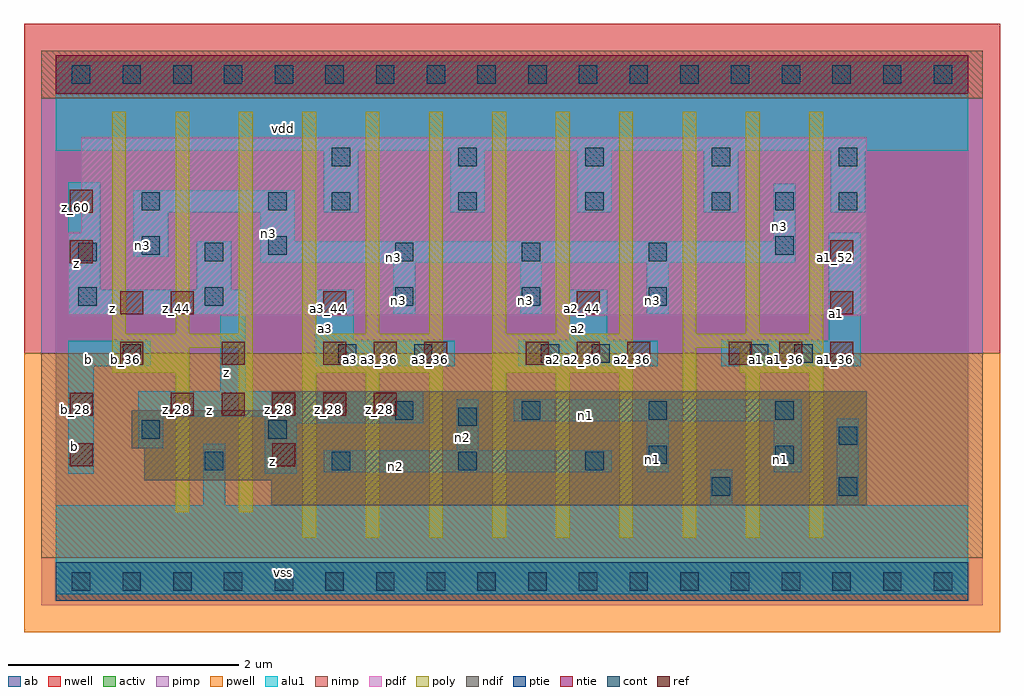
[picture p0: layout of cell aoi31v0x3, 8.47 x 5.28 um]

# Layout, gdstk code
import gdstk
lib = gdstk.Library(unit=1e-6, precision=2.5e-09)
def R(c, l, rs):  # rectangles x0, y0, x1, y1
    for r in rs: c.add(gdstk.rectangle(r[:2], r[2:], *l))
def A(c, l, x, y, w, h, nx, ny, dx, dy):  # array of equal rectangles
    R(c, l, [(x+i*dx, y+j*dy, x+i*dx+w, y+j*dy+h) for i in range(nx) for j in range(ny)])
ndif = (3, 0)
pdif = (4, 0)
ntie = (5, 0)
ptie = (6, 0)
ref = (24, 0)
cont = (25, 0)
pwell = (41, 0)
nwell = (42, 0)
activ = (43, 0)
pimp = (44, 0)
nimp = (45, 0)
poly = (46, 0)
alu1 = (49, 0)
ab = (63, 0)

aoi31v0x3 = lib.new_cell('aoi31v0x3')
R(aoi31v0x3, ndif, [(1.87,0.66,7.04,0.88), (0.77,0.88,7.04,1.155), (0.66,1.155,7.04,1.485), (1.87,1.485,7.04,1.65)])
R(aoi31v0x3, pdif, [(0.11,2.31,7.04,3.025), (0.22,3.025,7.04,3.85)])
R(aoi31v0x3, ntie, [(0,4.235,7.92,4.565)])
R(aoi31v0x3, ptie, [(0,-0.165,7.92,0.165)])
A(aoi31v0x3, ref, 1, 1.44, 0.2, 0.2, 5, 1, 0.44, 0)
A(aoi31v0x3, ref, 0.56, 1.88, 0.2, 0.2, 3, 1, 0.88, 0)
A(aoi31v0x3, ref, 4.08, 1.88, 0.2, 0.2, 3, 1, 0.44, 0)
A(aoi31v0x3, ref, 5.84, 1.88, 0.2, 0.2, 3, 1, 0.44, 0)
A(aoi31v0x3, ref, 2.32, 2.32, 0.2, 0.2, 3, 1, 2.2, 0)
R(aoi31v0x3, ref, [(0.12,1,0.32,1.2), (1.88,1,2.08,1.2), (0.12,1.44,0.32,1.64), (2.76,1.88,2.96,2.08), (3.2,1.88,3.4,2.08), (0.56,2.32,0.76,2.52), (1,2.32,1.2,2.52), (0.12,2.76,0.32,2.96), (6.72,2.76,6.92,2.96), (0.12,3.2,0.32,3.4)])
A(aoi31v0x3, cont, 0.14, -0.08, 0.16, 0.16, 18, 2, 0.44, 4.4)
A(aoi31v0x3, cont, 1.295, 0.965, 0.16, 0.16, 4, 1, 1.1, 0)
A(aoi31v0x3, cont, 2.945, 1.405, 0.16, 0.16, 4, 1, 1.1, 0)
A(aoi31v0x3, cont, 2.945, 2.395, 0.16, 0.16, 3, 2, 1.1, 0.385)
A(aoi31v0x3, cont, 2.395, 3.22, 0.16, 0.16, 4, 1, 1.1, 0)
A(aoi31v0x3, cont, 2.395, 3.605, 0.16, 0.16, 5, 1, 1.1, 0)
R(aoi31v0x3, cont, [(5.695,0.745,5.855,0.905), (6.795,0.745,6.955,0.905), (5.145,1.02,5.305,1.18), (6.245,1.02,6.405,1.18), (6.795,1.185,6.955,1.345), (0.745,1.24,0.905,1.4), (1.845,1.24,2.005,1.4), (3.495,1.35,3.655,1.51), (0.58,1.9,0.74,2.06), (2.45,1.9,2.61,2.06), (3.11,1.9,3.27,2.06), (4.21,1.9,4.37,2.06), (4.65,1.9,4.81,2.06), (6.025,1.9,6.185,2.06), (6.41,1.9,6.57,2.06), (0.195,2.395,0.355,2.555), (1.295,2.395,1.455,2.555), (0.195,2.78,0.355,2.94), (1.295,2.78,1.455,2.94), (0.745,2.835,0.905,2.995), (1.845,2.835,2.005,2.995), (6.245,2.835,6.405,2.995), (0.745,3.22,0.905,3.38), (1.845,3.22,2.005,3.38), (6.245,3.22,6.405,3.38), (6.795,3.22,6.955,3.38)])
R(aoi31v0x3, pwell, [(-0.275,-0.44,8.195,1.98)])
R(aoi31v0x3, nwell, [(-0.275,1.98,8.195,4.84)])
R(aoi31v0x3, activ, [(0,-0.165,7.92,0.165), (1.87,0.66,7.04,0.88), (0.77,0.88,7.04,1.155), (0.66,1.155,7.04,1.485), (1.87,1.485,7.04,1.65), (0.11,2.31,7.04,3.025), (0.22,3.025,7.04,3.85), (0,4.235,7.92,4.565)])
R(aoi31v0x3, pimp, [(-0.125,-0.205,8.045,0.205), (-0.125,1.98,8.045,4.195)])
R(aoi31v0x3, nimp, [(-0.125,0.205,8.045,1.98), (-0.125,4.195,8.045,4.605)])
A(aoi31v0x3, poly, 2.14, 0.38, 0.12, 1.43, 6, 1, 0.55, 0)
A(aoi31v0x3, poly, 0.49, 2.15, 0.12, 1.925, 12, 1, 0.55, 0)
R(aoi31v0x3, poly, [(5.44,0.38,5.56,2.03), (5.99,0.38,6.11,1.81), (6.54,0.38,6.66,1.81), (1.04,0.6,1.16,1.81), (1.59,0.6,1.71,2.03), (0.49,1.81,1.16,2.03), (2.14,1.81,3.36,2.15), (3.79,1.81,5.01,2.15), (5.935,1.81,6.66,2.03), (0.49,2.03,1.71,2.15), (5.44,2.03,6.66,2.15)])
A(aoi31v0x3, alu1, 2.255, 1.87, 1.21, 0.22, 3, 1, 1.76, 0)
A(aoi31v0x3, alu1, 2.93, 2.325, 0.19, 0.44, 3, 1, 1.1, 0)
A(aoi31v0x3, alu1, 2.325, 3.205, 0.3, 0.535, 5, 1, 1.1, 0)
R(aoi31v0x3, alu1, [(0,-0.11,7.92,0.66), (1.28,0.66,1.47,1.195), (5.68,0.66,5.87,0.975), (6.78,0.66,6.97,1.415), (0.11,0.935,0.33,1.87), (1.815,0.935,2.09,1.375), (2.325,0.95,4.825,1.14), (5.13,0.95,5.32,1.39), (6.23,0.95,6.475,1.39), (3.48,1.14,3.67,1.58), (0.715,1.155,0.935,1.43), (1.815,1.375,3.19,1.43), (3.975,1.39,6.475,1.58), (0.715,1.43,3.19,1.65), (1.43,1.65,1.65,2.31), (0.11,1.87,0.825,2.09), (2.255,2.09,2.585,2.53), (4.455,2.09,4.785,2.53), (6.71,2.09,6.985,3.025), (0.11,2.31,1.65,2.53), (0.11,2.53,0.385,3.465), (1.225,2.53,1.525,2.955), (1.775,2.765,6.42,2.955), (0.675,2.82,0.975,3.205), (1.775,2.955,2.075,3.205), (6.23,2.955,6.42,3.45), (0.675,3.205,2.075,3.395), (0,3.74,7.92,4.51)])
R(aoi31v0x3, ab, [(0,0,7.92,4.4)])
aoi31v0x3.add(gdstk.Label('vss', (1.98,0.0825), layer=49, texttype=0))
aoi31v0x3.add(gdstk.Label('n1', (6.29,1.06), layer=49, texttype=0))
aoi31v0x3.add(gdstk.Label('n1', (5.1775,1.06), layer=49, texttype=0))
aoi31v0x3.add(gdstk.Label('n2', (2.95,0.9975), layer=49, texttype=0))
aoi31v0x3.add(gdstk.Label('n1', (4.6,1.4375), layer=49, texttype=0))
aoi31v0x3.add(gdstk.Label('n2', (3.5275,1.25), layer=49, texttype=0))
aoi31v0x3.add(gdstk.Label('z', (1.8825,1.045), layer=49, texttype=0))
aoi31v0x3.add(gdstk.Label('z', (1.3325,1.485), layer=49, texttype=0))
aoi31v0x3.add(gdstk.Label('a1', (6.0775,1.925), layer=49, texttype=0))
aoi31v0x3.add(gdstk.Label('a2', (4.3175,1.925), layer=49, texttype=0))
aoi31v0x3.add(gdstk.Label('a3', (2.5575,1.925), layer=49, texttype=0))
aoi31v0x3.add(gdstk.Label('a1', (6.7775,2.3225), layer=49, texttype=0))
aoi31v0x3.add(gdstk.Label('n3', (5.1775,2.435), layer=49, texttype=0))
aoi31v0x3.add(gdstk.Label('a2', (4.5375,2.2), layer=49, texttype=0))
aoi31v0x3.add(gdstk.Label('n3', (4.0775,2.435), layer=49, texttype=0))
aoi31v0x3.add(gdstk.Label('n3', (2.9775,2.435), layer=49, texttype=0))
aoi31v0x3.add(gdstk.Label('a3', (2.3375,2.2), layer=49, texttype=0))
aoi31v0x3.add(gdstk.Label('z', (1.485,1.815), layer=49, texttype=0))
aoi31v0x3.add(gdstk.Label('b', (0.165,1.1675), layer=49, texttype=0))
aoi31v0x3.add(gdstk.Label('b', (0.2875,1.925), layer=49, texttype=0))
aoi31v0x3.add(gdstk.Label('z', (0.495,2.365), layer=49, texttype=0))
aoi31v0x3.add(gdstk.Label('n3', (2.935,2.8125), layer=49, texttype=0))
aoi31v0x3.add(gdstk.Label('n3', (6.2775,3.0775), layer=49, texttype=0))
aoi31v0x3.add(gdstk.Label('n3', (1.85,3.0175), layer=49, texttype=0))
aoi31v0x3.add(gdstk.Label('n3', (0.75,2.915), layer=49, texttype=0))
aoi31v0x3.add(gdstk.Label('z', (0.1775,2.7625), layer=49, texttype=0))
aoi31v0x3.add(gdstk.Label('vdd', (1.98,3.9325), layer=49, texttype=0))
aoi31v0x3.add(gdstk.Label('a1_36', (6.77,1.93), layer=24, texttype=0))
aoi31v0x3.add(gdstk.Label('a2_36', (5.01,1.93), layer=24, texttype=0))
aoi31v0x3.add(gdstk.Label('a2_44', (4.57,2.37), layer=24, texttype=0))
aoi31v0x3.add(gdstk.Label('a2_36', (4.57,1.93), layer=24, texttype=0))
aoi31v0x3.add(gdstk.Label('a2_36', (4.13,1.93), layer=24, texttype=0))
aoi31v0x3.add(gdstk.Label('a3_36', (3.25,1.93), layer=24, texttype=0))
aoi31v0x3.add(gdstk.Label('a3_36', (2.81,1.93), layer=24, texttype=0))
aoi31v0x3.add(gdstk.Label('z_28', (2.81,1.49), layer=24, texttype=0))
aoi31v0x3.add(gdstk.Label('a3_44', (2.37,2.37), layer=24, texttype=0))
aoi31v0x3.add(gdstk.Label('a3_36', (2.37,1.93), layer=24, texttype=0))
aoi31v0x3.add(gdstk.Label('z_28', (2.37,1.49), layer=24, texttype=0))
aoi31v0x3.add(gdstk.Label('z_60', (0.17,3.25), layer=24, texttype=0))
aoi31v0x3.add(gdstk.Label('z_52', (0.17,2.81), layer=24, texttype=0))
aoi31v0x3.add(gdstk.Label('b_28', (0.17,1.49), layer=24, texttype=0))
aoi31v0x3.add(gdstk.Label('b_20', (0.17,1.05), layer=24, texttype=0))
aoi31v0x3.add(gdstk.Label('z_28', (1.93,1.49), layer=24, texttype=0))
aoi31v0x3.add(gdstk.Label('z_20', (1.93,1.05), layer=24, texttype=0))
aoi31v0x3.add(gdstk.Label('z_36', (1.49,1.93), layer=24, texttype=0))
aoi31v0x3.add(gdstk.Label('z_28', (1.49,1.49), layer=24, texttype=0))
aoi31v0x3.add(gdstk.Label('z_44', (1.05,2.37), layer=24, texttype=0))
aoi31v0x3.add(gdstk.Label('z_28', (1.05,1.49), layer=24, texttype=0))
aoi31v0x3.add(gdstk.Label('a1_52', (6.77,2.81), layer=24, texttype=0))
aoi31v0x3.add(gdstk.Label('a1_44', (6.77,2.37), layer=24, texttype=0))
aoi31v0x3.add(gdstk.Label('z_44', (0.61,2.37), layer=24, texttype=0))
aoi31v0x3.add(gdstk.Label('b_36', (0.61,1.93), layer=24, texttype=0))
aoi31v0x3.add(gdstk.Label('a1_36', (6.33,1.93), layer=24, texttype=0))
aoi31v0x3.add(gdstk.Label('a1_36', (5.89,1.93), layer=24, texttype=0))

lib.write_gds('aoi31v0x3.gds')
